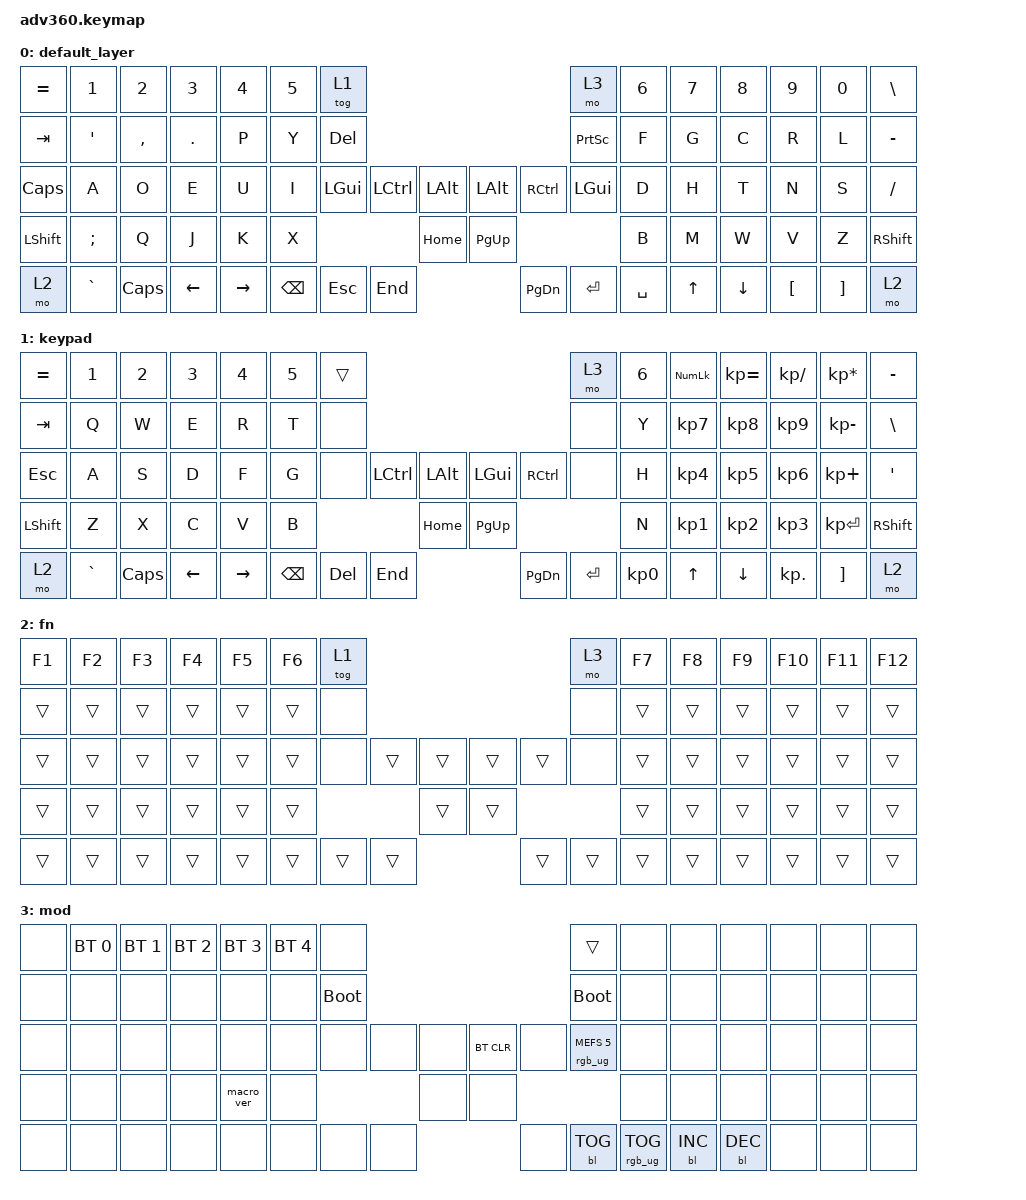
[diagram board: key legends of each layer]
#include <behaviors.dtsi>
#include <dt-bindings/zmk/keys.h>
#include <dt-bindings/zmk/bt.h>
#include <dt-bindings/zmk/rgb.h>
#include <dt-bindings/zmk/backlight.h>

/* CJCH variant:
 * Left:
 *   - y DVORAK across main keys.
 *   - y Move Caps Lock back to Esc.
 *   - y Move Esc to Delete.
 *   - y Move Delete to upper blank.
 *   - y Add left-Windows (LGUI) to lower blank.
 *   - y Replace old caps lock with em dash/pound combo.
 * Right:
 *   - y DVORAK across main keys.
 *   - y Add left-Windows to lower blank (RGUI, the right version, does nothing).
 *   - y Restore (left) Alt to Windows (RALT, the right version, just .. FFS).
 *   - y Add Print Screen to upper blank.
 *   - y Move _- to /?.
 *   - y Move /? to \|.
 *   - y Move \| to _-.
 */

/* Unicode stuff requires unapplied patch, sigh: https://github.com/urob/zmk-nodefree-config */
/*                   name                   unshifted                    shifted */
/*ZMK_UNICODE_PAIR( emd_pnd,  N2, N0, N1, N4,  N0, N0, A, N3 ) em dash (2014)/pound (A3) combo */
/*ZMK_UNICODE_SINGLE( emd_pnd,  N2, N0, N1, N4 ) em dash (2014) */

/ {
    behaviors {
      #include "macros.dtsi"
      #include "version.dtsi"
      #ifndef VERSION_MACRO
      macro_ver: macro_ver {
        compatible = "zmk,behavior-macro";
        label = "macro_version";
        #binding-cells = <0>;
        bindings = <&kp RET>;
      };
      #endif

      hm: homerow_mods {
          compatible = "zmk,behavior-hold-tap";
          label = "HOMEROW_MODS";
          #binding-cells = <2>;
          tapping-term-ms = <200>;
          quick_tap_ms = <175>;
          flavor = "tap-preferred";
          bindings = <&kp>, <&kp>;
      };
    };

  keymap {
    compatible = "zmk,keymap";

    default_layer {
      bindings = <
        &kp EQUAL    &kp N1        &kp N2    &kp N3   &kp N4    &kp N5 &tog 1                                                             &mo 3     &kp N6 &kp N7 &kp N8   &kp N9   &kp N0   &kp BSLH
        &kp TAB      &kp SQT       &kp COMMA &kp DOT  &kp P     &kp Y  &kp DEL                                                            &kp PSCRN &kp F  &kp G  &kp C    &kp R    &kp L    &kp MINUS
        &kp CAPSLOCK &kp A         &kp O     &kp E    &kp U     &kp I  &kp LGUI          &kp LCTRL &kp LALT &kp LALT  &kp RCTRL           &kp LGUI  &kp D  &kp H  &kp T    &kp N    &kp S    &kp SLASH
        &kp LSHFT    &kp SEMICOLON &kp Q     &kp J    &kp K     &kp X                              &kp HOME &kp PG_UP                               &kp B  &kp M  &kp W    &kp V    &kp Z    &kp RSHFT
        &mo 2        &kp GRAVE     &kp CAPS  &kp LEFT &kp RIGHT                 &kp BKSP &kp ESC   &kp END  &kp PG_DN &kp ENTER &kp SPACE                  &kp UP &kp DOWN &kp LBKT &kp RBKT &mo 2
      >;
    };
    keypad {
      bindings = <
        &kp EQUAL &kp N1    &kp N2   &kp N3   &kp N4     &kp N5 &trans                                                           &mo 3 &kp N6 &kp KP_NUM &kp KP_EQUAL &kp KP_DIVIDE &kp KP_MULTIPLY &kp MINUS
        &kp TAB   &kp Q     &kp W    &kp E    &kp R      &kp T  &none                                                            &none &kp Y  &kp KP_N7  &kp KP_N8    &kp KP_N9     &kp KP_MINUS    &kp BSLH
        &kp ESC   &kp A     &kp S    &kp D    &kp F      &kp G  &none           &kp LCTRL &kp LALT &kp LGUI  &kp RCTRL           &none &kp H  &kp KP_N4  &kp KP_N5    &kp KP_N6     &kp KP_PLUS     &kp SQT
        &kp LSHFT &kp Z     &kp X    &kp C    &kp V      &kp B                            &kp HOME &kp PG_UP                           &kp N  &kp KP_N1  &kp KP_N2    &kp KP_N3     &kp KP_ENTER    &kp RSHFT
        &mo 2     &kp GRAVE &kp CAPS &kp LEFT &kp RIGHT                &kp BSPC &kp DEL   &kp END  &kp PG_DN &kp ENTER &kp KP_N0              &kp UP     &kp DOWN     &kp KP_DOT    &kp RBKT        &mo 2
      >;
    };
    fn {
      bindings = <
        &kp F1 &kp F2 &kp F3 &kp F4 &kp F5 &kp F6 &tog 1                                           &mo 3 &kp F7 &kp F8 &kp F9 &kp F10 &kp F11 &kp F12
        &trans &trans &trans &trans &trans &trans  &none                                           &none &trans &trans &trans &trans  &trans  &trans
        &trans &trans &trans &trans &trans &trans  &none        &trans &trans &trans &trans        &none &trans &trans &trans &trans  &trans  &trans
        &trans &trans &trans &trans &trans &trans                      &trans &trans                     &trans &trans &trans &trans  &trans  &trans
        &trans &trans &trans &trans &trans               &trans &trans &trans &trans &trans &trans              &trans &trans &trans  &trans  &trans
      >;
    };
    mod {
      bindings = <
        &none &bt BT_SEL 0 &bt BT_SEL 1 &bt BT_SEL 2 &bt BT_SEL 3 &bt BT_SEL 4 &none                                                                     &trans                 &none        &none        &none        &none &none &none
        &none &none        &none        &none        &none        &none        &bootloader                                                               &bootloader            &none        &none        &none        &none &none &none
        &none &none        &none        &none        &none        &none        &none                   &none &none &bt BT_CLR &none                      &rgb_ug RGB_MEFS_CMD 5 &none        &none        &none        &none &none &none
        &none &none        &none        &none        &macro_ver   &none                                      &none &none                                                        &none        &none        &none        &none &none &none
        &none &none        &none        &none        &none                                       &none &none &none &none      &bl BL_TOG &rgb_ug RGB_TOG                                     &bl BL_INC   &bl BL_DEC   &none &none &none
      >;
    };
  };
};
